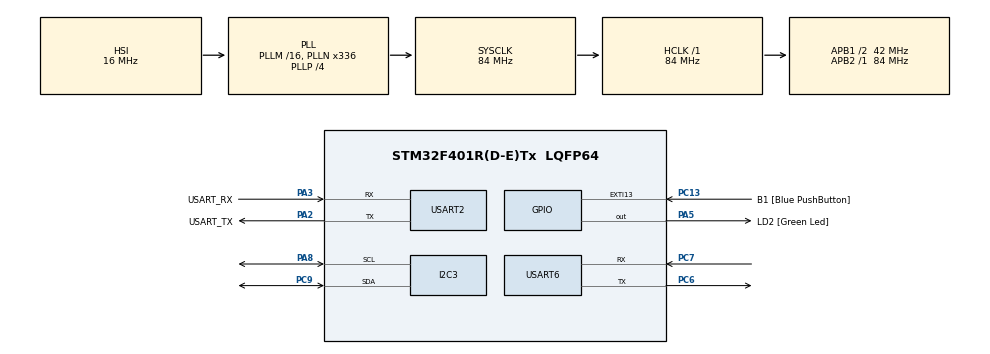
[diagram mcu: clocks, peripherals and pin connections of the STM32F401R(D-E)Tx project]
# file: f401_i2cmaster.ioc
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Mcu.Family=STM32F4
Mcu.Name=STM32F401R(D-E)Tx
Mcu.Package=LQFP64
NVIC.PriorityGroup=NVIC_PRIORITYGROUP_0
PA13.GPIO_Label=TMS
PA13.Mode=Serial_Wire
PA13.Signal=SYS_JTMS-SWDIO
PA14.GPIO_Label=TCK
PA14.Mode=Serial_Wire
PA14.Signal=SYS_JTCK-SWCLK
PA2.GPIO_Label=USART_TX
PA2.GPIO_Mode=GPIO_MODE_AF_PP
PA2.GPIO_PuPd=GPIO_NOPULL
PA2.GPIO_Speed=GPIO_SPEED_FREQ_LOW
PA2.Mode=Asynchronous
PA2.Signal=USART2_TX
PA3.GPIO_Label=USART_RX
PA3.GPIO_Mode=GPIO_MODE_AF_PP
PA3.GPIO_PuPd=GPIO_NOPULL
PA3.GPIO_Speed=GPIO_SPEED_FREQ_LOW
PA3.Mode=Asynchronous
PA3.Signal=USART2_RX
PA5.GPIO_Label=LD2 [Green Led]
PA5.GPIO_Mode=GPIO_MODE_OUTPUT_PP
PA5.GPIO_PuPd=GPIO_NOPULL
PA5.GPIO_Speed=GPIO_SPEED_FREQ_LOW
PA5.Signal=GPIO_Output
PA8.Mode=I2C
PA8.Signal=I2C3_SCL
PB3.GPIO_Label=SWO
PB3.Signal=SYS_JTDO-SWO
PC13-ANTI_TAMP.GPIO_Label=B1 [Blue PushButton]
PC13-ANTI_TAMP.GPIO_ModeDefaultEXTI=GPIO_MODE_IT_FALLING
PC13-ANTI_TAMP.GPIO_PuPd=GPIO_NOPULL
PC13-ANTI_TAMP.Signal=GPXTI13
PC14-OSC32_IN.Mode=LSE-External-Oscillator
PC14-OSC32_IN.Signal=RCC_OSC32_IN
PC15-OSC32_OUT.Mode=LSE-External-Oscillator
PC15-OSC32_OUT.Signal=RCC_OSC32_OUT
PC6.Mode=Asynchronous
PC6.Signal=USART6_TX
PC7.Mode=Asynchronous
PC7.Signal=USART6_RX
PC9.Mode=I2C
PC9.Signal=I2C3_SDA
PH0\ -\ OSC_IN.Mode=HSE-External-Clock-Source
PH0\ -\ OSC_IN.Signal=RCC_OSC_IN
PH1\ -\ OSC_OUT.Mode=HSE-External-Clock-Source
PH1\ -\ OSC_OUT.Signal=RCC_OSC_OUT
ProjectManager.HeapSize=0x200
ProjectManager.StackSize=0x400
ProjectManager.TargetToolchain=STM32CubeIDE
RCC.48MHZClocksFreq_Value=48000000
RCC.AHBFreq_Value=84000000
RCC.APB1CLKDivider=RCC_HCLK_DIV2
RCC.APB1Freq_Value=42000000
RCC.APB1TimFreq_Value=84000000
RCC.APB2Freq_Value=84000000
RCC.APB2TimFreq_Value=84000000
RCC.CortexFreq_Value=84000000
RCC.HCLKFreq_Value=84000000
RCC.HSE_VALUE=8000000
RCC.HSI_VALUE=16000000
RCC.PLLN=336
RCC.PLLP=RCC_PLLP_DIV4
RCC.PLLQ=7
RCC.SYSCLKFreq_VALUE=84000000
RCC.SYSCLKSource=RCC_SYSCLKSOURCE_PLLCLK
RCC.VCOOutputFreq_Value=336000000
USART2.VirtualMode=VM_ASYNC
USART6.VirtualMode=VM_ASYNC
board=NUCLEO-F401RE

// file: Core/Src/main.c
/* USER CODE BEGIN Header */
/**
  ******************************************************************************
  * @file           : main.c
  * @brief          : Main program body
  ******************************************************************************
  * @attention
  *
  * Copyright (c) 2023 STMicroelectronics.
  * All rights reserved.
  *
  * This software is licensed under terms that can be found in the LICENSE file
  * in the root directory of this software component.
  * If no LICENSE file comes with this software, it is provided AS-IS.
  *
  ******************************************************************************
  */
/* USER CODE END Header */
#include "main.h"

/* USER CODE BEGIN Includes */
// C Includes
#include <stdbool.h>
#include <stddef.h>
#include <stdint.h>
#include <stdio.h>
#include <stdlib.h>
#include <string.h>

// 3rd-Party Includes

#include "ina260.h"

/* USER CODE END Includes */

/* USER CODE BEGIN PTD */
  #define NOTE_I2C_BUFFER_SIZE 0xFF
  #define NOTE_PRODUCT_UID "com.your-company.your-name:your_product"

/* USER CODE END PTD */

I2C_HandleTypeDef hi2c3;

UART_HandleTypeDef huart2;
UART_HandleTypeDef huart6;

/* USER CODE BEGIN PV */
/* Private variables */
uint8_t TX_Buffer [] = "A" ; // DATA to send

// Necessary for Notecard I/O functionality
static uint8_t serialInterruptBuffer[1];
static volatile size_t serialFillIndex = 0;
static volatile size_t serialDrainIndex = 0;
static uint32_t serialOverruns = 0;
static char serialBuffer[512];
static bool uart1Initialized = false;

float voltage, current;

/* USER CODE END PV */

void SystemClock_Config(void);
static void MX_GPIO_Init(void);
static void MX_USART2_UART_Init(void);
static void MX_I2C3_Init(void);
static void MX_USART6_UART_Init(void);

/* USER CODE BEGIN 0 */
uint8_t tx_buff[50]={'0','1','2','3','4','5','6','7','8','9'};
uint8_t rx_buffer_i2c[50]={'0','1','2','3','4','5','6','7','8','9'};
/* USER CODE END 0 */

int main(void)
{

  /* MCU Configuration--------------------------------------------------------*/

  /* Reset of all peripherals, Initializes the Flash interface and the Systick. */
  HAL_Init();

  /* Configure the system clock */
  SystemClock_Config();

  /* Initialize all configured peripherals */
  MX_GPIO_Init();
  MX_USART2_UART_Init();
  MX_I2C3_Init();
  MX_USART6_UART_Init();
  /* USER CODE BEGIN 2 */
  //HAL_I2C_Master_Transmit(&hi2c3,20,TX_Buffer,1,1000); //Sending in Blocking mode
  HAL_Delay(100);
  ina260_t * inasensor = ina260_new(&hi2c3, 0x40);
  /* USER CODE END 2 */

  /* Infinite loop */
  while (1)
  {

    /* USER CODE BEGIN 3 */
	  HAL_GPIO_TogglePin (GPIOA, GPIO_PIN_5);
	  ina260_status_t inasenor_status =  ina260_ready(inasensor);
	  //memset(rx_buffer_i2c, 0, 50);

	  //inasenor_status = ina260_get_voltage(inasensor, &voltage);
	  /*
	   HAL_OK      - success
	  *             HAL_ERROR   - I2C read error or invalid arguments
	  *             HAL_BUSY    - I2C bus busy
	  *             HAL_TIMEOUT - I2C communication timeout. see timeout constant
	  *                           INA260_I2C_READ_TIMEOUT_MS in ina260.c
	  */
	  if (inasenor_status==HAL_OK){
		  memset(rx_buffer_i2c, 0, 50);
		  inasenor_status = ina260_get_voltage(inasensor, &voltage);
		  inasenor_status = ina260_get_current(inasensor, &current);

		  if (inasenor_status==HAL_OK){
			  //sprintf(rx_buffer_i2c, "curr %03u mA\n", ((int)current)%1000);
			  sprintf(rx_buffer_i2c, "vol %d.%d V, \ncurr %d.%03d A\n", (int)voltage/1000, (int)voltage%1000,
				  ((int)current)/1000, ((int)current)%1000);
		  }
		  //inasenor_status = ina260_get_voltage(inasensor, &voltage);
	  }
	  else
		  sprintf(rx_buffer_i2c, "i2c error %u .", inasenor_status);
	  //HAL_I2C_Master_Transmit(&hi2c3,20,TX_Buffer,1,1000); //Sending in Blocking mode
	 // HAL_I2C_Master_Receive(&hi2c3, (0x40<<1), (uint8_t*) rx_buffer_i2c,1,3000);
	  HAL_UART_Transmit(&huart6, rx_buffer_i2c, 50, 1000); //pc6,7 tx/rx
	  HAL_Delay(2000);
  }
  /* USER CODE END 3 */
}

void SystemClock_Config(void)
{
  RCC_OscInitTypeDef RCC_OscInitStruct = {0};
  RCC_ClkInitTypeDef RCC_ClkInitStruct = {0};

  /** Configure the main internal regulator output voltage
  */
  __HAL_RCC_PWR_CLK_ENABLE();
  __HAL_PWR_VOLTAGESCALING_CONFIG(PWR_REGULATOR_VOLTAGE_SCALE2);

  /** Initializes the RCC Oscillators according to the specified parameters
  * in the RCC_OscInitTypeDef structure.
  */
  RCC_OscInitStruct.OscillatorType = RCC_OSCILLATORTYPE_HSI;
  RCC_OscInitStruct.HSIState = RCC_HSI_ON;
  RCC_OscInitStruct.HSICalibrationValue = RCC_HSICALIBRATION_DEFAULT;
  RCC_OscInitStruct.PLL.PLLState = RCC_PLL_ON;
  RCC_OscInitStruct.PLL.PLLSource = RCC_PLLSOURCE_HSI;
  RCC_OscInitStruct.PLL.PLLM = 16;
  RCC_OscInitStruct.PLL.PLLN = 336;
  RCC_OscInitStruct.PLL.PLLP = RCC_PLLP_DIV4;
  RCC_OscInitStruct.PLL.PLLQ = 7;
  if (HAL_RCC_OscConfig(&RCC_OscInitStruct) != HAL_OK)
  {
    Error_Handler();
  }

  /** Initializes the CPU, AHB and APB buses clocks
  */
  RCC_ClkInitStruct.ClockType = RCC_CLOCKTYPE_HCLK|RCC_CLOCKTYPE_SYSCLK
                              |RCC_CLOCKTYPE_PCLK1|RCC_CLOCKTYPE_PCLK2;
  RCC_ClkInitStruct.SYSCLKSource = RCC_SYSCLKSOURCE_PLLCLK;
  RCC_ClkInitStruct.AHBCLKDivider = RCC_SYSCLK_DIV1;
  RCC_ClkInitStruct.APB1CLKDivider = RCC_HCLK_DIV2;
  RCC_ClkInitStruct.APB2CLKDivider = RCC_HCLK_DIV1;

  if (HAL_RCC_ClockConfig(&RCC_ClkInitStruct, FLASH_LATENCY_2) != HAL_OK)
  {
    Error_Handler();
  }
}

static void MX_I2C3_Init(void)
{

  hi2c3.Instance = I2C3;
  hi2c3.Init.ClockSpeed = 100000;
  hi2c3.Init.DutyCycle = I2C_DUTYCYCLE_2;
  hi2c3.Init.OwnAddress1 = 0;
  hi2c3.Init.AddressingMode = I2C_ADDRESSINGMODE_7BIT;
  hi2c3.Init.DualAddressMode = I2C_DUALADDRESS_DISABLE;
  hi2c3.Init.OwnAddress2 = 0;
  hi2c3.Init.GeneralCallMode = I2C_GENERALCALL_DISABLE;
  hi2c3.Init.NoStretchMode = I2C_NOSTRETCH_DISABLE;
  if (HAL_I2C_Init(&hi2c3) != HAL_OK)
  {
    Error_Handler();
  }

}

static void MX_USART2_UART_Init(void)
{

  huart2.Instance = USART2;
  huart2.Init.BaudRate = 115200;
  huart2.Init.WordLength = UART_WORDLENGTH_8B;
  huart2.Init.StopBits = UART_STOPBITS_1;
  huart2.Init.Parity = UART_PARITY_NONE;
  huart2.Init.Mode = UART_MODE_TX_RX;
  huart2.Init.HwFlowCtl = UART_HWCONTROL_NONE;
  huart2.Init.OverSampling = UART_OVERSAMPLING_16;
  if (HAL_UART_Init(&huart2) != HAL_OK)
  {
    Error_Handler();
  }

}

static void MX_USART6_UART_Init(void)
{

  huart6.Instance = USART6;
  huart6.Init.BaudRate = 115200;
  huart6.Init.WordLength = UART_WORDLENGTH_8B;
  huart6.Init.StopBits = UART_STOPBITS_1;
  huart6.Init.Parity = UART_PARITY_NONE;
  huart6.Init.Mode = UART_MODE_TX_RX;
  huart6.Init.HwFlowCtl = UART_HWCONTROL_NONE;
  huart6.Init.OverSampling = UART_OVERSAMPLING_16;
  if (HAL_UART_Init(&huart6) != HAL_OK)
  {
    Error_Handler();
  }

}

static void MX_GPIO_Init(void)
{
  GPIO_InitTypeDef GPIO_InitStruct = {0};

  /* GPIO Ports Clock Enable */
  __HAL_RCC_GPIOC_CLK_ENABLE();
  __HAL_RCC_GPIOH_CLK_ENABLE();
  __HAL_RCC_GPIOA_CLK_ENABLE();
  __HAL_RCC_GPIOB_CLK_ENABLE();

  /*Configure GPIO pin Output Level */
  HAL_GPIO_WritePin(LD2_GPIO_Port, LD2_Pin, GPIO_PIN_RESET);

  /*Configure GPIO pin : B1_Pin */
  GPIO_InitStruct.Pin = B1_Pin;
  GPIO_InitStruct.Mode = GPIO_MODE_IT_FALLING;
  GPIO_InitStruct.Pull = GPIO_NOPULL;
  HAL_GPIO_Init(B1_GPIO_Port, &GPIO_InitStruct);

  /*Configure GPIO pin : LD2_Pin */
  GPIO_InitStruct.Pin = LD2_Pin;
  GPIO_InitStruct.Mode = GPIO_MODE_OUTPUT_PP;
  GPIO_InitStruct.Pull = GPIO_NOPULL;
  GPIO_InitStruct.Speed = GPIO_SPEED_FREQ_LOW;
  HAL_GPIO_Init(LD2_GPIO_Port, &GPIO_InitStruct);

}

void Error_Handler(void)
{
  __disable_irq();
  while (1)
  {
  }
}
